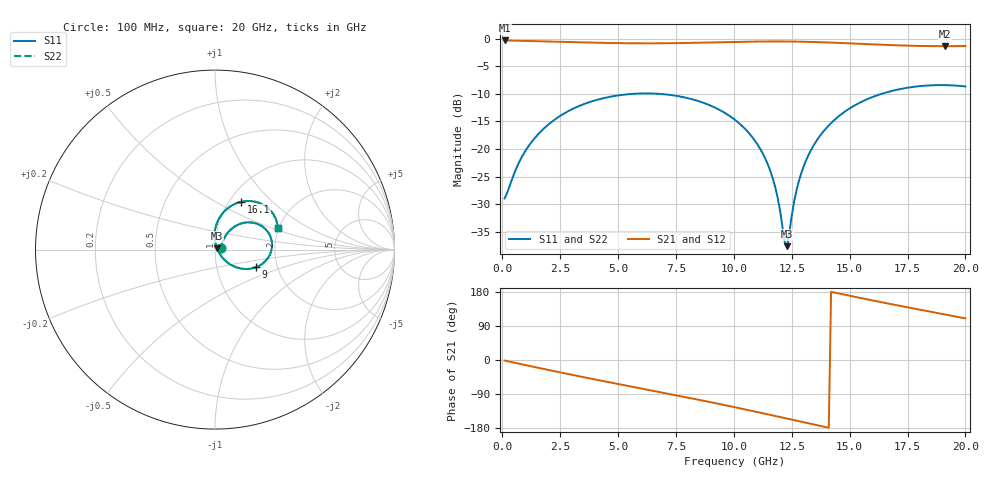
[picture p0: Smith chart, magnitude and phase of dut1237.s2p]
! Touchstone file exported from HFSS 2026.1.0
!  File:  C:/ffzhzh/LocalFiles/Ansys_Project_Files/temp_train_TSV_RDL_1237_1783323271_39728.aedt
!  Generated:  03:44:26 PM Jul  6, 2026
!  Design:  TSV_RDL
!  Project:  temp_train_TSV_RDL_1237_1783323271_39728
! Variables:
!  h_bsmrdl = 3.67um
!  h_ox = 20um
!  h_rdl = 5um
!  h_sub = 67.05um
!  h_tmrdl = 2.19um
!  h_tsv = 67.05um
!  h_via = 3um
!  l_bsmrdl = 327.95um
!  l_sub = 3418.1um
!  l_tmrdl = 488.68um
!  m_sub = 200um
!  pitch = 33.34um
!  r_tsv = 14.82um
!  s_tmrdl = 10um
!  w_bsmrdl = 15.3um
!  w_sub = 500um
!  w_tmrdl = 11.21um
!  x_tsv_center1 = 494.285um
!  x_tsv_center2 = 837.535um
!  x_tsv_center3 = 1337.425um
!  x_tsv_center4 = 1680.675um
!  x_tsv_center5 = 2180.565um
!  x_tsv_center6 = 2523.815um
# GHz S MA R 50.000000
! Terminal data exported
! Port[1] = TM_RDL1_1_T1
! Port[2] = TM_RDL5_1_T1
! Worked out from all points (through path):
!   200 points, 100 MHz to 20 GHz, reference 50 ohm
!   highest |S21| = -0.30 dB at 100 MHz (marker M1); lowest = -1.3 dB at 19.1 GHz (marker M2)
!   group delay of S21, straight-line fit = 34.9 ps
!   lowest |S11| = -37.6 dB at 12.3 GHz (marker M3), VSWR 1.03, Z = 51.1 + j0.772 ohm
!   |S11| at or under -10 dB: start of sweep to 5.606 GHz; 6.801 GHz to 16.37 GHz (9.57 GHz wide, 82.6 % of centre)
!   |S22| runs from -37.5 to -8.4 dB; largest |S21 - S12| = 1.7e-14
!   S11 on the Smith chart (normalised r, x): 100 MHz: 1.07, +0.02; 9 GHz: 1.54, -0.33; 16.1 GHz: 1.13, +0.66; 20 GHz: 1.97, +0.55
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0.1  0.03561 14.3  0.9657 -1.4  0.9657 -1.4  0.03561 14.3
! Gamma 0 0 0 0
! Port Impedance 50 0 50 0
0.7  0.07386 49.7  0.9601 -9.5  0.9601 -9.5  0.07386 49.7
1.4  0.1255 52.7  0.9527 -18.7  0.9527 -18.7  0.1255 52.7
2.3  0.1872 47.4  0.9423 -30.2  0.9423 -30.2  0.1872 47.4
3.5  0.2544 36.3  0.9275 -45.2  0.9275 -45.2  0.2544 36.3
5.1  0.3084 19.6  0.9125 -64.5  0.9125 -64.5  0.3084 19.6
6.8  0.3162 1.1  0.9098 -84.6  0.9098 -84.6  0.3162 1.1
9  0.2474 -23.6  0.9266 -111.3  0.9266 -111.3  0.2473 -23.5
10.1  0.1803 -35.9  0.9379 -125.4  0.9379 -125.4  0.1802 -35.9
10.9  0.1198 -44.0  0.944 -135.9  0.944 -135.9  0.1198 -43.9
11.5  0.06974 -47.3  0.9463 -143.9  0.9463 -143.9  0.06971 -47.2
11.8  0.04401 -44.9  0.9465 -147.9  0.9465 -147.9  0.04399 -44.7
12.2  0.01415 -2.3  0.9457 -153.3  0.9457 -153.3  0.01422 -2.0
12.3  0.01314 35.1  0.9453 -154.7  0.9453 -154.7  0.01326 35.2
12.6  0.03303 85.0  0.9437 -158.7  0.9437 -158.7  0.03312 84.9
12.8  0.05039 90.5  0.9422 -161.4  0.9422 -161.4  0.05047 90.4
13.4  0.1037 90.3  0.9358 -169.5  0.9358 -169.5  0.1038 90.3
14.5  0.196 79.6  0.9184 176.0  0.9184 176.0  0.196 79.6
16.1  0.3024 61.6  0.8879 155.8  0.8879 155.8  0.3024 61.6
16.7  0.3313 54.8  0.8774 148.5  0.8774 148.5  0.3313 54.8
19.1  0.38 28.6  0.8565 120.4  0.8565 120.4  0.38 28.7
20  0.369 19.0  0.8596 109.9  0.8596 109.9  0.3691 19.0
